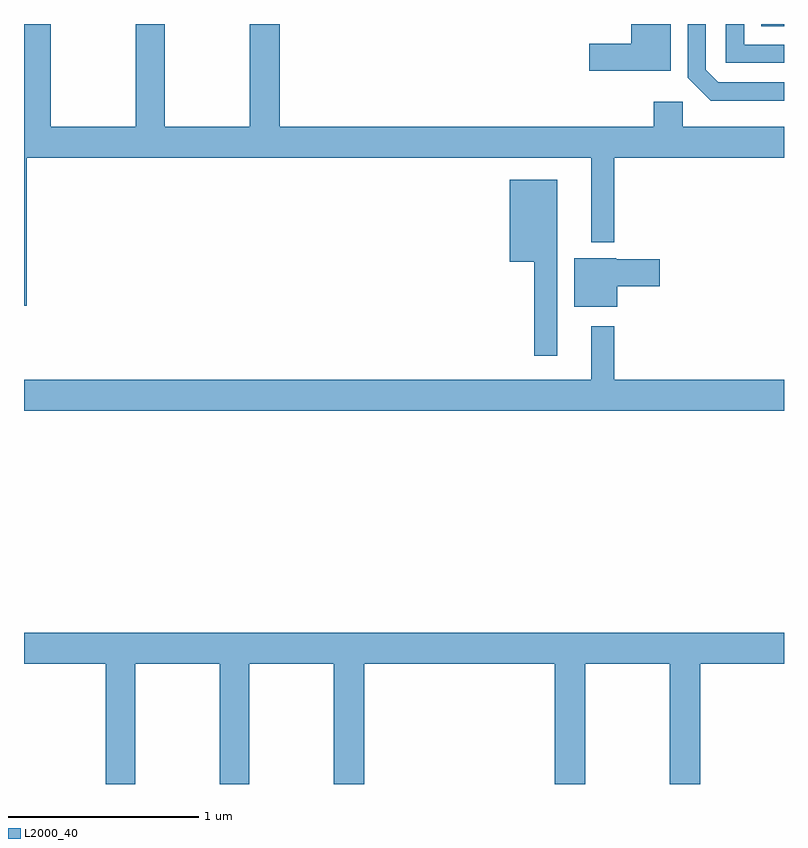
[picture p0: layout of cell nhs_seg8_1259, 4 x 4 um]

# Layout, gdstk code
import gdstk
lib = gdstk.Library(unit=1e-6, precision=1e-09)
def R(c, l, rs):  # rectangles x0, y0, x1, y1
    for r in rs: c.add(gdstk.rectangle(r[:2], r[2:], *l))
def P(c, l, *ps):  # polygons
    for p in ps: c.add(gdstk.Polygon(p, *l))
L2000_40 = (2000, 40)

nhs_seg8_1259 = lib.new_cell('nhs_seg8_1259')
R(nhs_seg8_1259, L2000_40, [(194.879,1087.889,195,1087.9)])
P(nhs_seg8_1259, L2000_40, [(191.015,1087.196),(193.985,1087.196),(193.985,1086.752),(194.107,1086.752),(194.107,1087.196),(195,1087.196),(195,1087.36),(194.466,1087.36),(194.466,1087.492),(194.315,1087.492),(194.315,1087.36),(192.347,1087.36),(192.347,1087.9),(192.187,1087.9),(192.187,1087.36),(191.742,1087.36),(191.742,1087.9),(191.587,1087.9),(191.587,1087.36),(191.142,1087.36),(191.142,1087.9),(191,1087.9),(191,1086.417),(191.015,1086.417)],
  [(195,1087.791),(194.79,1087.791),(194.79,1087.9),(194.694,1087.9),(194.694,1087.695),(195,1087.695)],
  [(194.404,1087.9),(194.197,1087.9),(194.197,1087.796),(193.974,1087.796),(193.974,1087.654),(194.404,1087.654)],
  [(195,1087.593),(194.655,1087.593),(194.589,1087.659),(194.589,1087.9),(194.493,1087.9),(194.493,1087.617),(194.614,1087.496),(195,1087.496)],
  [(193.807,1087.081),(193.556,1087.081),(193.556,1086.65),(193.686,1086.65),(193.686,1086.153),(193.807,1086.153)],
  [(194.122,1086.52),(194.347,1086.52),(194.347,1086.662),(194.118,1086.662),(194.118,1086.667),(193.895,1086.667),(193.895,1086.413),(194.122,1086.413)],
  [(195,1086.028),(194.107,1086.028),(194.107,1086.31),(193.985,1086.31),(193.985,1086.028),(191,1086.028),(191,1085.864),(195,1085.864)],
  [(191.586,1084.532),(192.031,1084.532),(192.031,1083.9),(192.186,1083.9),(192.186,1084.532),(192.631,1084.532),(192.631,1083.9),(192.791,1083.9),(192.791,1084.532),(193.793,1084.532),(193.793,1083.9),(193.953,1083.9),(193.953,1084.532),(194.398,1084.532),(194.398,1083.9),(194.558,1083.9),(194.558,1084.532),(195,1084.532),(195,1084.696),(191,1084.696),(191,1084.532),(191.431,1084.532),(191.431,1083.9),(191.586,1083.9)])

lib.write_gds('nhs_seg8_1259.gds')
